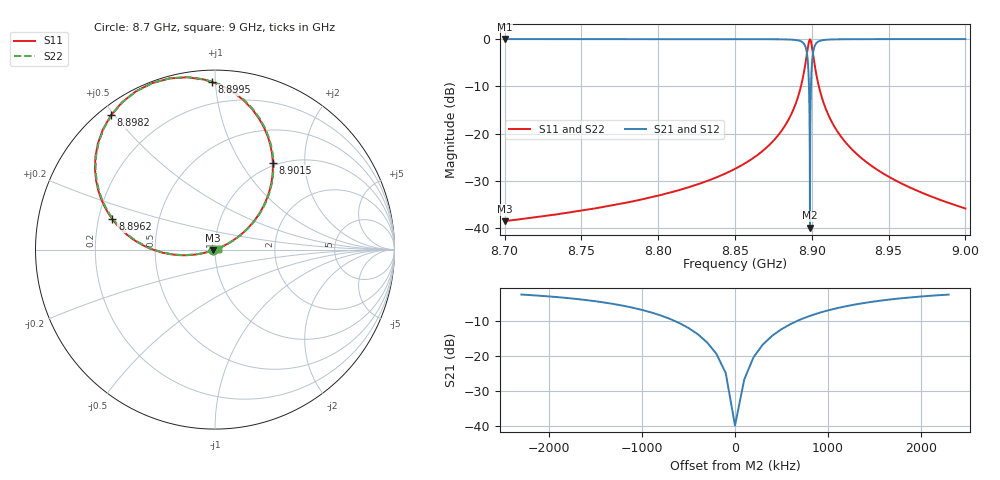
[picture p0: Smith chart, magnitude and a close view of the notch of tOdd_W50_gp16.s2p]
! Sonnet Data File
! From: emgraph Version : 16.52
! From Project: transmon_trial2
! Data is De-embedded
! Data File Written: 10/20/2017 13:43:12
!< HDATE 10/20/2017 10:41:42
!< MDATE 10/20/2017 10:41:42
!< PARAMS
!< Lj = 15.24
!< Gap = 16.0
!< Width = 50.0
!< Airgap = 30.0
!< Pwidth = 2000.0
!< END PARAMS
# GHZ S MA R 45.40000
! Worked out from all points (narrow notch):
!   3001 points, 8.7 GHz to 9 GHz, reference 45.4 ohm
!   highest |S21| = 0.00 dB at 8.7 GHz (marker M1); lowest = -39.9 dB at 8.8988 GHz (marker M2)
!   notch at M2: 39.9 dB deep, 400 kHz wide at half that depth
!   lowest |S11| = -38.5 dB at 8.7 GHz (marker M3), VSWR 1.02, Z = 44.4 - j0.377 ohm
!   |S11| at or under -10 dB: start of sweep to 8.8929 GHz; 8.9046 GHz to end of sweep
!   |S22| runs from -38.5 to -0.1 dB; largest |S21 - S12| = 0
!   S11 on the Smith chart (normalised r, x): 8.7 GHz: 0.98, -0.01; 8.8962 GHz: 0.26, +0.14; 8.8982 GHz: 0.03, +0.49; 8.8995 GHz: 0.07, +0.98; 8.9015 GHz: 0.95, +1.40; 9 GHz: 1.03, +0.01
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8.7  0.01185 -159.0  0.9999 -68.9  0.9999 -68.9  0.01185 -158.7
!< P1 F=8.7 Eeff=(4.74736053 -6.3969e-5) Z0=(45.1403777 -2.0193e-4) R=0.0 C=0.0
!< P2 F=8.7 Eeff=(4.74736053 -6.3969e-5) Z0=(45.1403777 -2.0193e-4) R=0.0 C=0.0
8.75  0.0153 -159.5  0.9999 -69.5  0.9999 -69.5  0.0153 -159.4
8.8  0.02206 -160.2  0.9997 -70.2  0.9997 -70.2  0.02206 -160.3
8.85  0.04233 -161.7  0.9991 -71.8  0.9991 -71.8  0.04233 -161.9
8.882  0.1174 -166.2  0.993 -76.4  0.993 -76.4  0.1174 -166.6
8.8929  0.3143 -178.0  0.9484 -88.0  0.9484 -88.0  0.3143 -178.4
8.8949  0.4461 173.7  0.8931 -96.2  0.8931 -96.2  0.4461 173.4
8.8962  0.5965 163.5  0.7988 -106.3  0.7988 -106.3  0.5965 163.1
8.8969  0.7108 154.7  0.6973 -115.0  0.6973 -115.0  0.7108 154.3
8.8973  0.7858 148.0  0.6099 -121.5  0.6099 -121.5  0.7858 147.7
8.8982  0.9467 127.8  0.2975 -140.9  0.2975 -140.9  0.9467 127.4
8.8988  0.9915 110.8  0.01011 -102.7  0.01011 -102.7  0.9915 110.4
8.8995  0.9353 91.1  0.3322 -0.5  0.3322 -0.5  0.9353 90.7
8.9  0.8472 79.1  0.5195 -11.8  0.5195 -11.8  0.8472 78.7
8.9007  0.7129 66.4  0.6951 -24.3  0.6951 -24.3  0.7129 66.0
8.9015  0.5824 56.4  0.8093 -34.1  0.8093 -34.1  0.5824 56.0
8.9033  0.3945 43.9  0.9174 -46.5  0.9174 -46.5  0.3945 43.5
8.9057  0.2688 36.1  0.9625 -54.2  0.9625 -54.2  0.2688 35.7
8.9163  0.1076 26.6  0.9941 -63.7  0.9941 -63.7  0.1076 26.1
8.9302  0.05895 23.7  0.9982 -66.6  0.9982 -66.6  0.05895 23.1
8.95  0.03503 22.2  0.9994 -68.1  0.9994 -68.1  0.03503 21.6
9  0.01613 20.8  0.9999 -69.6  0.9999 -69.6  0.01613 19.9
